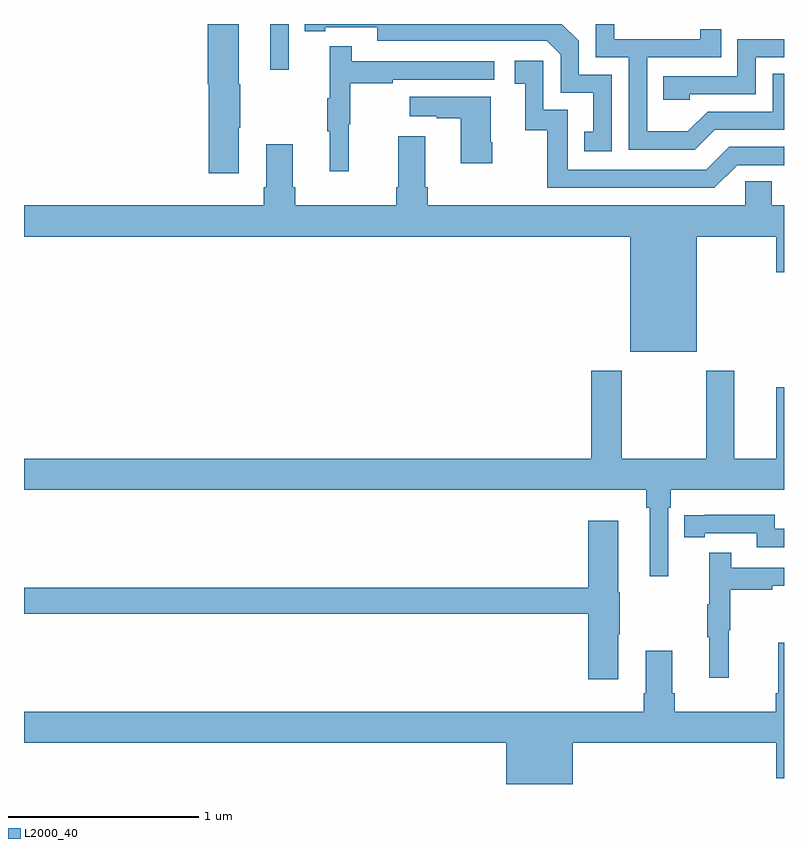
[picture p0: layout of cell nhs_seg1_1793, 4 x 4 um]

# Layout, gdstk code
import gdstk
lib = gdstk.Library(unit=1e-6, precision=1e-09)
def R(c, l, rs):  # rectangles x0, y0, x1, y1
    for r in rs: c.add(gdstk.rectangle(r[:2], r[2:], *l))
def P(c, l, *ps):  # polygons
    for p in ps: c.add(gdstk.Polygon(p, *l))
L2000_40 = (2000, 40)

nhs_seg1_1793 = lib.new_cell('nhs_seg1_1793')
R(nhs_seg1_1793, L2000_40, [(210.296,537.957,210.393,538.199)])
P(nhs_seg1_1793, L2000_40, [(212.635,537.642),(213,537.642),(213,537.937),(212.94,537.937),(212.94,537.738),(212.598,537.738),(212.494,537.634),(212.28,537.634),(212.28,538.023),(212.669,538.023),(212.669,538.171),(212.558,538.171),(212.558,538.119),(212.107,538.119),(212.107,538.199),(212.01,538.199),(212.01,538.023),(212.184,538.023),(212.184,537.537),(212.53,537.537)],
  [(212.094,537.933),(211.92,537.933),(211.92,538.11),(211.831,538.199),(210.478,538.199),(210.478,538.162),(210.586,538.162),(210.586,538.182),(210.858,538.182),(210.858,538.11),(211.752,538.11),(211.824,538.038),(211.824,537.837),(211.997,537.837),(211.997,537.633),(211.948,537.633),(211.948,537.528),(212.094,537.528)],
  [(210.13,537.652),(210.138,537.652),(210.138,537.882),(210.13,537.882),(210.13,538.199),(209.966,538.199),(209.966,537.882),(209.972,537.882),(209.972,537.414),(210.13,537.414)],
  [(212.505,537.828),(212.85,537.828),(212.85,538.023),(213,538.023),(213,538.119),(212.754,538.119),(212.754,537.924),(212.365,537.924),(212.365,537.801),(212.505,537.801)],
  [(210.71,537.672),(210.718,537.672),(210.718,537.886),(210.941,537.886),(210.941,537.906),(211.474,537.906),(211.474,538.002),(210.725,538.002),(210.725,538.081),(210.608,538.081),(210.608,537.809),(210.597,537.809),(210.597,537.635),(210.608,537.635),(210.608,537.423),(210.71,537.423)],
  [(212.754,537.456),(213,537.456),(213,537.552),(212.712,537.552),(212.592,537.432),(211.863,537.432),(211.863,537.747),(211.734,537.747),(211.734,538.006),(211.584,538.006),(211.584,537.885),(211.637,537.885),(211.637,537.639),(211.755,537.639),(211.755,537.336),(212.634,537.336)],
  [(211.464,537.577),(211.456,537.577),(211.456,537.817),(211.029,537.817),(211.029,537.713),(211.172,537.713),(211.172,537.703),(211.298,537.703),(211.298,537.465),(211.464,537.465)],
  [(212.542,537.08),(212.96,537.08),(212.96,536.892),(213,536.892),(213,537.244),(212.935,537.244),(212.935,537.371),(212.796,537.371),(212.796,537.244),(211.124,537.244),(211.124,537.34),(211.111,537.34),(211.111,537.607),(210.971,537.607),(210.971,537.34),(210.959,537.34),(210.959,537.244),(210.428,537.244),(210.428,537.34),(210.415,537.34),(210.415,537.565),(210.275,537.565),(210.275,537.34),(210.263,537.34),(210.263,537.244),(209,537.244),(209,537.08),(212.192,537.08),(212.192,536.474),(212.542,536.474)],
  [(212.391,535.652),(212.405,535.652),(212.405,535.748),(213,535.748),(213,536.287),(212.96,536.287),(212.96,535.912),(212.737,535.912),(212.737,536.374),(212.59,536.374),(212.59,535.912),(212.145,535.912),(212.145,536.374),(211.985,536.374),(211.985,535.912),(209,535.912),(209,535.748),(212.275,535.748),(212.275,535.652),(212.294,535.652),(212.294,535.293),(212.391,535.293)],
  [(213,535.542),(212.952,535.542),(212.952,535.615),(212.584,535.615),(212.584,535.614),(212.476,535.614),(212.476,535.498),(212.584,535.498),(212.584,535.518),(212.856,535.518),(212.856,535.446),(213,535.446)],
  [(212.128,534.988),(212.136,534.988),(212.136,535.209),(212.128,535.209),(212.128,535.585),(211.97,535.585),(211.97,535.232),(209,535.232),(209,535.096),(211.97,535.096),(211.97,534.75),(212.128,534.75)],
  [(212.708,535.008),(212.716,535.008),(212.716,535.222),(212.939,535.222),(212.939,535.242),(213,535.242),(213,535.338),(212.723,535.338),(212.723,535.417),(212.606,535.417),(212.606,535.145),(212.595,535.145),(212.595,534.971),(212.606,534.971),(212.606,534.759),(212.708,534.759)],
  [(211.888,534.416),(212.96,534.416),(212.96,534.228),(213,534.228),(213,534.943),(212.969,534.943),(212.969,534.676),(212.957,534.676),(212.957,534.58),(212.426,534.58),(212.426,534.676),(212.413,534.676),(212.413,534.901),(212.273,534.901),(212.273,534.676),(212.261,534.676),(212.261,534.58),(209,534.58),(209,534.416),(211.538,534.416),(211.538,534.199),(211.888,534.199)])

lib.write_gds('nhs_seg1_1793.gds')
